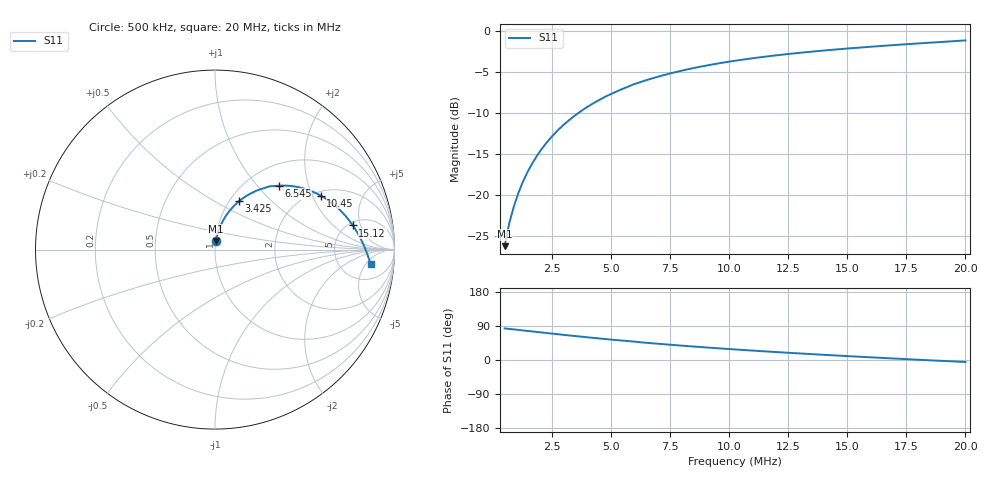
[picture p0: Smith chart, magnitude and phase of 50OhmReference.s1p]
# HZ S RI R 50
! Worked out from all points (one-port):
!   101 points, 500 kHz to 20 MHz, reference 50 ohm
!   lowest |S11| = -26.2 dB at 500 kHz (marker M1), VSWR 1.10, Z = 50.3 + j4.9 ohm
!   |S11| at or under -10 dB: start of sweep to 3.634 MHz
!   S11 on the Smith chart (normalised r, x): 500 kHz: 1.01, +0.10; 3.425 MHz: 1.11, +0.65; 6.545 MHz: 1.38, +1.31; 10.45 MHz: 2.17, +2.32; 15.12 MHz: 5.46, +3.74; 20 MHz: 10, -7
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500000  0.00565 0.0485
695000  0.00936 0.0666
890000  0.0137 0.084
1085000  0.0189 0.1014
1280000  0.0251 0.1182
1475000  0.0319 0.1348
1670000  0.0393 0.1507
1865000  0.0474 0.1662
2255000  0.0659 0.1954
2645000  0.0865 0.2224
3035000  0.1092 0.2469
3425000  0.1335 0.2691
4010000  0.1726 0.2975
4400000  0.1996 0.3129
4790000  0.2272 0.3266
5375000  0.2687 0.3413
5960000  0.3105 0.3539
6545000  0.3539 0.3557
7910000  0.4442 0.3516
8885000  0.504 0.3376
1.025e7  0.5789 0.3062
1.0445e7  0.5887 0.3009
1.181e7  0.652 0.2589
1.2785e7  0.6911 0.225
1.3955e7  0.7325 0.1813
1.5125e7  0.7681 0.1344
1.766e7  0.8277 0.0259
2e7  0.8664 -0.0804
